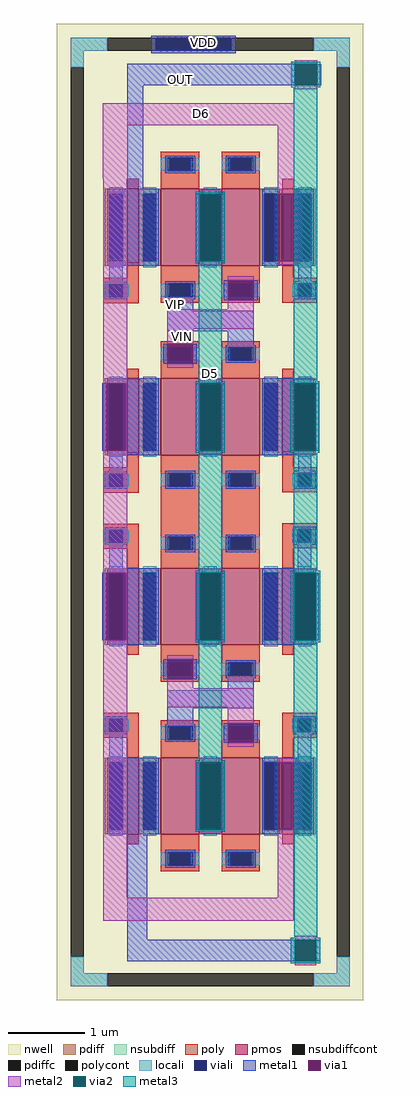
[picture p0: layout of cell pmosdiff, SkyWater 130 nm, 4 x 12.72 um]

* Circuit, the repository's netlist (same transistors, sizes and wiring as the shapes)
** sch_path: /home/zulfas/operationalamplifier/pmosdiff/pmosdiff.sch
.subckt pmosdiff VIN VIP OUT VDD D5 D6
*.PININFO VIN:I VIP:I OUT:O VDD:B D5:B D6:B
XM6 D6 VIN D5 VDD sky130_fd_pr__pfet_01v8 L=0.5 W=1 nf=1 m=4
XM7 OUT VIP D5 VDD sky130_fd_pr__pfet_01v8 L=0.5 W=1 nf=1 m=4
XM1 D6 D6 D6 VDD sky130_fd_pr__pfet_01v8 L=0.15 W=1 nf=1 m=4
XM2 OUT OUT OUT VDD sky130_fd_pr__pfet_01v8 L=0.15 W=1 nf=1 m=4
.ends
.end

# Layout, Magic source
magic
tech sky130A
magscale 1 2
<< nwell >>
rect 94 -2032 894 512
<< nsubdiff >>
rect 131 442 226 476
rect 765 442 858 476
rect 131 399 165 442
rect 824 399 858 442
rect 131 -1962 165 -1919
rect 824 -1962 858 -1919
rect 131 -1996 226 -1962
rect 765 -1996 858 -1962
<< nsubdiffcont >>
rect 226 442 765 476
rect 131 -1919 165 399
rect 824 -1919 858 399
rect 226 -1996 765 -1962
<< poly >>
rect 278 -150 308 -109
rect 216 -166 308 -150
rect 216 -200 232 -166
rect 266 -200 308 -166
rect 216 -216 308 -200
rect 682 -149 712 -118
rect 682 -165 774 -149
rect 682 -199 724 -165
rect 758 -199 774 -165
rect 682 -215 774 -199
rect 278 -644 308 -603
rect 216 -660 308 -644
rect 216 -694 232 -660
rect 266 -694 308 -660
rect 216 -710 308 -694
rect 682 -643 712 -601
rect 682 -659 774 -643
rect 682 -693 724 -659
rect 758 -693 774 -659
rect 216 -806 308 -790
rect 216 -840 232 -806
rect 266 -840 308 -806
rect 366 -809 466 -699
rect 524 -809 624 -699
rect 682 -709 774 -693
rect 682 -805 773 -789
rect 216 -856 308 -840
rect 278 -884 308 -856
rect 682 -839 723 -805
rect 757 -839 773 -805
rect 682 -855 773 -839
rect 682 -890 712 -855
rect 216 -1299 308 -1283
rect 216 -1333 232 -1299
rect 266 -1333 308 -1299
rect 216 -1349 308 -1333
rect 278 -1386 308 -1349
rect 682 -1299 773 -1283
rect 682 -1333 723 -1299
rect 757 -1333 773 -1299
rect 682 -1349 773 -1333
rect 682 -1382 712 -1349
<< polycont >>
rect 232 -200 266 -166
rect 724 -199 758 -165
rect 232 -694 266 -660
rect 724 -693 758 -659
rect 232 -840 266 -806
rect 723 -839 757 -805
rect 232 -1333 266 -1299
rect 723 -1333 757 -1299
<< locali >>
rect 131 442 226 476
rect 765 442 858 476
rect 131 399 165 442
rect 824 399 858 442
rect 216 -200 232 -166
rect 266 -200 282 -166
rect 708 -199 724 -165
rect 758 -199 774 -165
rect 216 -694 232 -660
rect 266 -694 282 -660
rect 708 -693 724 -659
rect 758 -693 774 -659
rect 216 -840 232 -806
rect 266 -840 282 -806
rect 707 -839 723 -805
rect 757 -839 773 -805
rect 216 -1333 232 -1299
rect 266 -1333 282 -1299
rect 707 -1333 723 -1299
rect 757 -1333 773 -1299
rect 131 -1962 165 -1919
rect 824 -1962 858 -1919
rect 131 -1996 226 -1962
rect 765 -1996 858 -1962
<< viali >>
rect 353 442 549 476
rect 232 -200 266 -166
rect 724 -199 758 -165
rect 232 -694 266 -660
rect 724 -693 758 -659
rect 232 -840 266 -806
rect 723 -839 757 -805
rect 232 -1333 266 -1299
rect 723 -1333 757 -1299
<< metal1 >>
rect 341 476 561 482
rect 341 442 353 476
rect 549 442 561 476
rect 341 436 561 442
rect 278 352 715 408
rect 774 352 784 407
rect 278 82 320 352
rect 226 -118 360 82
rect 457 -106 467 70
rect 523 -106 533 70
rect 661 -106 671 70
rect 723 -102 733 70
rect 723 -106 758 -102
rect 232 -160 266 -118
rect 220 -166 278 -160
rect 220 -200 232 -166
rect 266 -200 278 -166
rect 220 -206 278 -200
rect 382 -236 450 -198
rect 530 -208 540 -156
rect 608 -208 618 -156
rect 724 -159 758 -106
rect 712 -165 770 -159
rect 712 -199 724 -165
rect 758 -199 770 -165
rect 712 -205 770 -199
rect 382 -289 608 -236
rect 372 -374 382 -322
rect 450 -374 460 -322
rect 540 -332 608 -289
rect 226 -424 360 -413
rect 630 -424 764 -412
rect 213 -600 223 -424
rect 275 -600 360 -424
rect 457 -600 467 -424
rect 523 -600 533 -424
rect 630 -600 715 -424
rect 767 -600 777 -424
rect 226 -612 360 -600
rect 630 -612 764 -600
rect 232 -654 266 -612
rect 724 -653 758 -612
rect 220 -660 278 -654
rect 220 -694 232 -660
rect 266 -694 278 -660
rect 220 -700 278 -694
rect 712 -659 770 -653
rect 712 -693 724 -659
rect 758 -693 770 -659
rect 712 -699 770 -693
rect 220 -806 278 -800
rect 220 -840 232 -806
rect 266 -840 278 -806
rect 220 -846 278 -840
rect 711 -805 769 -799
rect 711 -839 723 -805
rect 757 -839 769 -805
rect 711 -845 769 -839
rect 232 -906 266 -846
rect 723 -906 758 -845
rect 226 -918 360 -906
rect 630 -918 764 -906
rect 213 -1094 223 -918
rect 275 -1094 360 -918
rect 460 -1094 470 -918
rect 522 -1094 532 -918
rect 630 -1094 715 -918
rect 767 -1094 777 -918
rect 226 -1106 360 -1094
rect 630 -1106 764 -1094
rect 372 -1196 382 -1144
rect 450 -1196 460 -1144
rect 540 -1224 608 -1185
rect 383 -1243 608 -1224
rect 382 -1272 608 -1243
rect 220 -1299 278 -1293
rect 220 -1333 232 -1299
rect 266 -1333 278 -1299
rect 382 -1319 450 -1272
rect 711 -1299 769 -1293
rect 220 -1339 278 -1333
rect 232 -1400 266 -1339
rect 530 -1362 540 -1310
rect 608 -1362 618 -1310
rect 711 -1333 723 -1299
rect 757 -1333 769 -1299
rect 711 -1339 769 -1333
rect 226 -1600 360 -1400
rect 459 -1588 469 -1412
rect 521 -1588 531 -1412
rect 661 -1588 671 -1412
rect 723 -1416 758 -1339
rect 723 -1588 733 -1416
rect 278 -1875 330 -1600
rect 278 -1931 715 -1875
rect 771 -1931 781 -1875
<< via1 >>
rect 715 352 774 407
rect 467 -106 523 70
rect 671 -106 723 70
rect 540 -208 608 -156
rect 382 -374 450 -322
rect 223 -600 275 -424
rect 467 -600 523 -424
rect 715 -600 767 -424
rect 223 -1094 275 -918
rect 470 -1094 522 -918
rect 715 -1094 767 -918
rect 382 -1196 450 -1144
rect 540 -1362 608 -1310
rect 469 -1588 521 -1412
rect 671 -1588 723 -1412
rect 715 -1931 771 -1875
<< metal2 >>
rect 716 417 772 418
rect 715 408 774 417
rect 715 407 716 408
rect 772 407 774 408
rect 715 342 774 352
rect 215 248 713 306
rect 215 109 279 248
rect 216 -424 278 109
rect 671 80 713 248
rect 467 70 523 80
rect 467 -116 523 -106
rect 671 70 723 80
rect 671 -116 723 -106
rect 540 -156 608 -146
rect 540 -232 608 -208
rect 382 -282 608 -232
rect 382 -322 450 -282
rect 382 -384 450 -374
rect 216 -600 223 -424
rect 275 -600 278 -424
rect 216 -918 278 -600
rect 467 -424 523 -414
rect 467 -610 523 -600
rect 713 -424 769 -414
rect 713 -610 769 -600
rect 216 -1094 223 -918
rect 275 -1094 278 -918
rect 216 -1765 278 -1094
rect 467 -918 523 -908
rect 467 -1104 523 -1094
rect 715 -918 771 -908
rect 715 -1104 771 -1094
rect 382 -1144 450 -1134
rect 382 -1220 450 -1196
rect 382 -1269 608 -1220
rect 540 -1310 608 -1269
rect 540 -1372 608 -1362
rect 467 -1412 523 -1402
rect 467 -1598 523 -1588
rect 671 -1412 723 -1402
rect 671 -1598 723 -1588
rect 671 -1765 712 -1598
rect 216 -1826 712 -1765
rect 715 -1875 771 -1865
rect 715 -1941 771 -1931
<< via2 >>
rect 716 407 772 408
rect 716 352 772 407
rect 467 -106 523 70
rect 467 -600 523 -424
rect 713 -600 715 -424
rect 715 -600 767 -424
rect 767 -600 769 -424
rect 467 -1094 470 -918
rect 470 -1094 522 -918
rect 522 -1094 523 -918
rect 715 -1094 767 -918
rect 767 -1094 771 -918
rect 467 -1588 469 -1412
rect 469 -1588 521 -1412
rect 521 -1588 523 -1412
rect 715 -1931 771 -1875
<< metal3 >>
rect 706 408 782 413
rect 706 352 716 408
rect 772 352 782 408
rect 706 347 782 352
rect 457 70 533 75
rect 457 -106 467 70
rect 523 -106 533 70
rect 457 -111 533 -106
rect 465 -419 525 -111
rect 712 -419 774 347
rect 457 -424 533 -419
rect 457 -600 467 -424
rect 523 -600 533 -424
rect 457 -605 533 -600
rect 703 -424 779 -419
rect 703 -600 713 -424
rect 769 -600 779 -424
rect 703 -605 779 -600
rect 465 -913 525 -605
rect 712 -913 774 -605
rect 457 -918 533 -913
rect 457 -1094 467 -918
rect 523 -1094 533 -918
rect 457 -1099 533 -1094
rect 705 -918 781 -913
rect 705 -1094 715 -918
rect 771 -1094 781 -918
rect 705 -1099 781 -1094
rect 465 -1407 525 -1099
rect 457 -1412 533 -1407
rect 457 -1588 467 -1412
rect 523 -1588 533 -1412
rect 712 -1588 774 -1099
rect 457 -1593 533 -1588
rect 713 -1870 774 -1588
rect 705 -1875 781 -1870
rect 705 -1931 715 -1875
rect 771 -1931 781 -1875
rect 705 -1936 781 -1931
use sky130_fd_pr__pfet_01v8_2XUZHN  sky130_fd_pr__pfet_01v8_2XUZHN_1
transform 1 0 293 0 1 -1500
box -109 -162 109 162
use sky130_fd_pr__pfet_01v8_2XUZHN  sky130_fd_pr__pfet_01v8_2XUZHN_2
transform 1 0 697 0 1 -18
box -109 -162 109 162
use sky130_fd_pr__pfet_01v8_2XUZHN  sky130_fd_pr__pfet_01v8_2XUZHN_3
transform 1 0 293 0 1 -18
box -109 -162 109 162
use sky130_fd_pr__pfet_01v8_2XUZHN  sky130_fd_pr__pfet_01v8_2XUZHN_4
transform 1 0 293 0 1 -512
box -109 -162 109 162
use sky130_fd_pr__pfet_01v8_2XUZHN  sky130_fd_pr__pfet_01v8_2XUZHN_5
transform 1 0 697 0 1 -512
box -109 -162 109 162
use sky130_fd_pr__pfet_01v8_2XUZHN  sky130_fd_pr__pfet_01v8_2XUZHN_6
transform 1 0 293 0 1 -1006
box -109 -162 109 162
use sky130_fd_pr__pfet_01v8_2XUZHN  sky130_fd_pr__pfet_01v8_2XUZHN_7
transform 1 0 697 0 1 -1006
box -109 -162 109 162
use sky130_fd_pr__pfet_01v8_2XUZHN  sky130_fd_pr__pfet_01v8_2XUZHN_8
transform 1 0 697 0 1 -1500
box -109 -162 109 162
use sky130_fd_pr__pfet_01v8_VQXXLL  sky130_fd_pr__pfet_01v8_VQXXLL_0
transform 1 0 495 0 1 -18
box -223 -200 223 200
use sky130_fd_pr__pfet_01v8_VQXXLL  sky130_fd_pr__pfet_01v8_VQXXLL_1
transform 1 0 495 0 1 -512
box -223 -200 223 200
use sky130_fd_pr__pfet_01v8_VQXXLL  sky130_fd_pr__pfet_01v8_VQXXLL_2
transform 1 0 495 0 1 -1006
box -223 -200 223 200
use sky130_fd_pr__pfet_01v8_VQXXLL  sky130_fd_pr__pfet_01v8_VQXXLL_3
transform 1 0 495 0 1 -1500
box -223 -200 223 200
<< labels >>
flabel viali 476 464 476 464 0 FreeSans 640 0 0 0 VDD
port 0 nsew
flabel metal1 416 368 416 368 0 FreeSans 640 0 0 0 OUT
port 1 nsew
flabel metal2 472 278 472 278 0 FreeSans 640 0 0 0 D6
port 2 nsew
flabel metal1 404 -218 404 -218 0 FreeSans 640 0 0 0 VIP
port 3 nsew
flabel metal2 422 -302 422 -302 0 FreeSans 640 0 0 0 VIN
port 4 nsew
flabel metal3 494 -398 494 -398 0 FreeSans 640 0 0 0 D5
port 6 nsew
<< end >>

# cell sky130_fd_pr__pfet_01v8_2XUZHN: kit device sky130_fd_pr__pfet_01v8, w 1 l 0.15 m 1 nf 1 diffcov 100 polycov 100 guard 0 glc 1 grc 1 gtc 1 gbc 1 tbcov 100 rlcov 100 topc 0 botc 0 poverlap 0 doverlap 1 lmin 0.15 wmin 0.42 compatible {sky130_fd_pr__pfet_01v8 sky130_fd_pr__pfet_01v8_lvt sky130_fd_pr__pfet_01v8_hvt sky130_fd_pr__pfet_g5v0d10v5} full_metal 1 viasrc 100 viadrn 100 viagate 100 viagb 0 viagr 0 viagl 0 viagt 0

# cell sky130_fd_pr__pfet_01v8_VQXXLL: kit device sky130_fd_pr__pfet_01v8, w 1 l 0.5 m 1 nf 2 diffcov 100 polycov 100 guard 0 glc 1 grc 1 gtc 1 gbc 1 tbcov 100 rlcov 100 topc 1 botc 1 poverlap 0 doverlap 1 lmin 0.15 wmin 0.42 compatible {sky130_fd_pr__pfet_01v8 sky130_fd_pr__pfet_01v8_lvt sky130_fd_pr__pfet_01v8_hvt sky130_fd_pr__pfet_g5v0d10v5} full_metal 1 viasrc 100 viadrn 100 viagate 80 viagb 0 viagr 0 viagl 0 viagt 0
